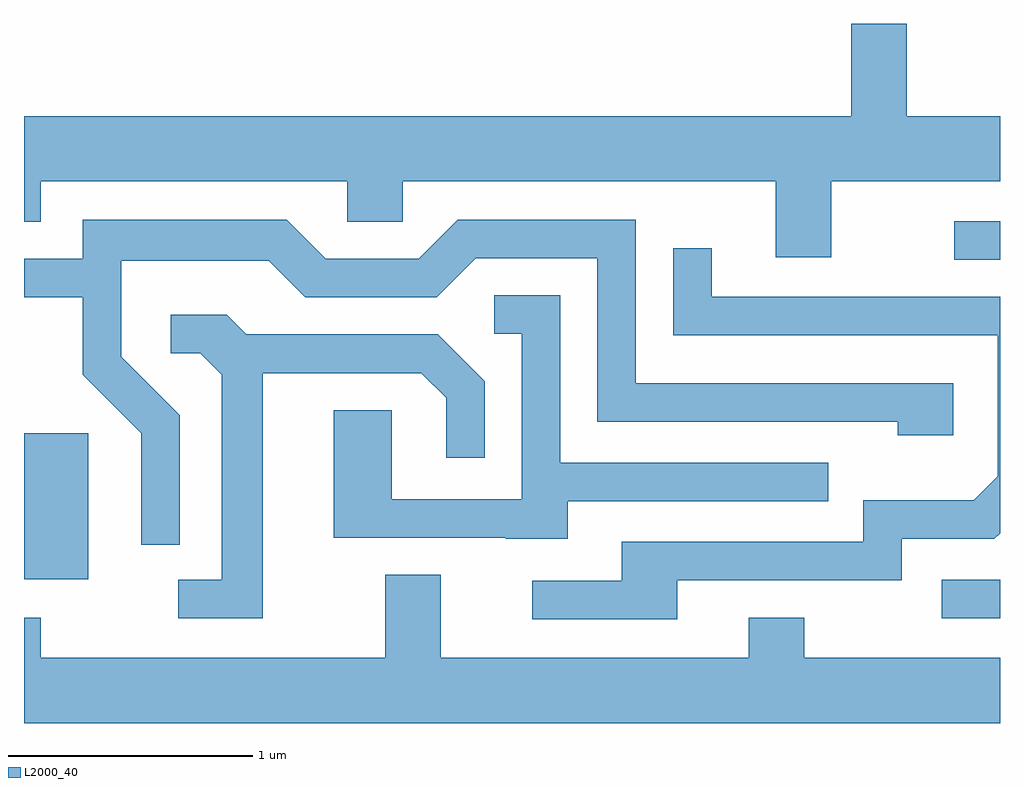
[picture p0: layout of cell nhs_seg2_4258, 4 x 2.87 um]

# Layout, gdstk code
import gdstk
lib = gdstk.Library(unit=1e-6, precision=1e-09)
def R(c, l, rs):  # rectangles x0, y0, x1, y1
    for r in rs: c.add(gdstk.rectangle(r[:2], r[2:], *l))
def P(c, l, *ps):  # polygons
    for p in ps: c.add(gdstk.Polygon(p, *l))
L2000_40 = (2000, 40)

nhs_seg2_4258 = lib.new_cell('nhs_seg2_4258')
R(nhs_seg2_4258, L2000_40, [(313.373,1095.366,313.611,1095.524), (309.611,1095.526,309.874,1096.124), (313.423,1096.836,313.611,1096.994)])
P(nhs_seg2_4258, L2000_40, [(312.919,1097.156),(313.611,1097.156),(313.611,1097.424),(313.229,1097.424),(313.229,1097.802),(313.001,1097.802),(313.001,1097.424),(309.611,1097.424),(309.611,1096.991),(309.679,1096.991),(309.679,1097.156),(310.936,1097.156),(310.936,1096.991),(311.164,1096.991),(311.164,1097.156),(312.691,1097.156),(312.691,1096.846),(312.919,1096.846)],
  [(310.249,1096.197),(310.009,1096.437),(310.009,1096.831),(310.614,1096.831),(310.764,1096.681),(311.302,1096.681),(311.462,1096.841),(311.961,1096.841),(311.961,1096.171),(313.191,1096.171),(313.191,1096.116),(313.419,1096.116),(313.419,1096.329),(312.119,1096.329),(312.119,1096.999),(311.389,1096.999),(311.229,1096.839),(310.847,1096.839),(310.687,1096.999),(309.851,1096.999),(309.851,1096.839),(309.611,1096.839),(309.611,1096.681),(309.851,1096.681),(309.851,1096.364),(310.091,1096.124),(310.091,1095.668),(310.249,1095.668)],
  [(312.289,1095.521),(313.209,1095.521),(313.209,1095.691),(313.587,1095.691),(313.611,1095.715),(313.611,1096.684),(312.429,1096.684),(312.429,1096.883),(312.271,1096.883),(312.271,1096.526),(313.601,1096.526),(313.601,1095.947),(313.504,1095.849),(313.051,1095.849),(313.051,1095.679),(312.061,1095.679),(312.061,1095.519),(311.693,1095.519),(311.693,1095.361),(312.289,1095.361)],
  [(311.839,1095.846),(312.908,1095.846),(312.908,1096.004),(311.809,1096.004),(311.809,1096.689),(311.538,1096.689),(311.538,1096.531),(311.651,1096.531),(311.651,1095.854),(311.119,1095.854),(311.119,1096.219),(310.881,1096.219),(310.881,1095.696),(311.585,1095.696),(311.585,1095.691),(311.839,1095.691)],
  [(310.589,1096.371),(311.239,1096.371),(311.341,1096.269),(311.341,1096.023),(311.499,1096.023),(311.499,1096.337),(311.307,1096.529),(310.522,1096.529),(310.442,1096.609),(310.213,1096.609),(310.213,1096.451),(310.334,1096.451),(310.421,1096.364),(310.421,1095.524),(310.243,1095.524),(310.243,1095.366),(310.589,1095.366)],
  [(313.611,1095.204),(312.809,1095.204),(312.809,1095.369),(312.581,1095.369),(312.581,1095.204),(311.319,1095.204),(311.319,1095.544),(311.091,1095.544),(311.091,1095.204),(309.679,1095.204),(309.679,1095.369),(309.611,1095.369),(309.611,1094.936),(313.611,1094.936)])

lib.write_gds('nhs_seg2_4258.gds')
